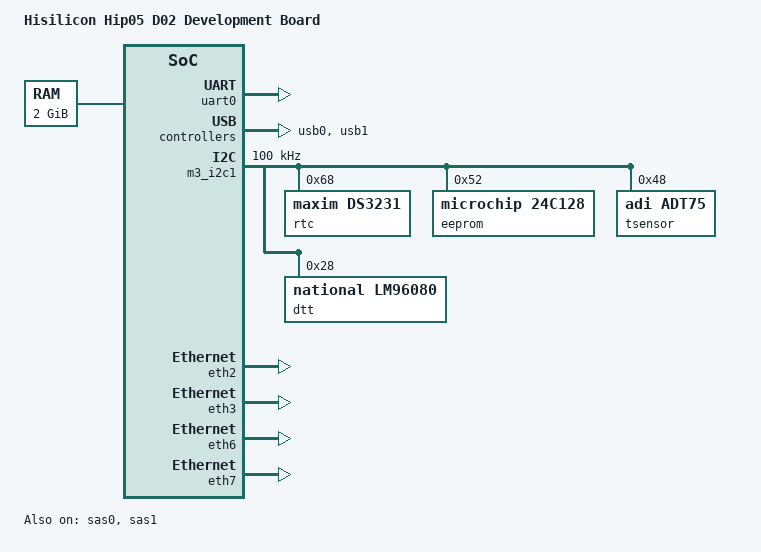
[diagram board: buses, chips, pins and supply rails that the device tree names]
/**
 * dts file for Hisilicon D02 Development Board
 *
 * Copyright (C) 2014,2015 Hisilicon Ltd.
 *
 * This program is free software; you can redistribute it and/or modify
 * it under the terms of the GNU General Public License version 2 as
 * publishhed by the Free Software Foundation.
 *
 */

/dts-v1/;

#include "hip05.dtsi"

/ {
	model = "Hisilicon Hip05 D02 Development Board";
	compatible = "hisilicon,hip05-d02";

	memory@00000000 {
		device_type = "memory";
		reg = <0x0 0x00000000 0x0 0x80000000>;
	};

	aliases {
		serial0 = &uart0;
	};

	chosen {
		stdout-path = "serial0:115200n8";
		bootargs = "earlycon=uart8250,mmio32,0x80300000 console=ttyS0,115200 initrd=0x7000000,350M";
	};
};

&uart0 {
	status = "ok";
};

&usb0 {
	status = "okay";
};

&usb1 {
	status = "okay";
};

&sas0 {
	status = "okay";
};

&sas1 {
	status = "okay";
};

&m3_i2c1 {
	clock-frequency = <100000>;
	status = "okay";

	rtc: ds3231@68 {
		compatible = "maxim,ds3231";
		reg = <0x68>;
	};

	eeprom: at24c128@52 {
		compatible = "microchip,24c128";
		reg = <0x52>;
		pagesize = <64>;
	};

	tsensor: adt75@48 {
		compatible = "adi,adt75";
		reg = <0x48>;
	};

	dtt: lm96080@28 {
		compatible = "national,lm96080";
		reg = <0x28>;
	};
};

&eth2 {
	status = "okay";
};

&eth3 {
	status = "okay";
};

&eth6 {
	status = "okay";
};

&eth7 {
	status = "okay";
};
